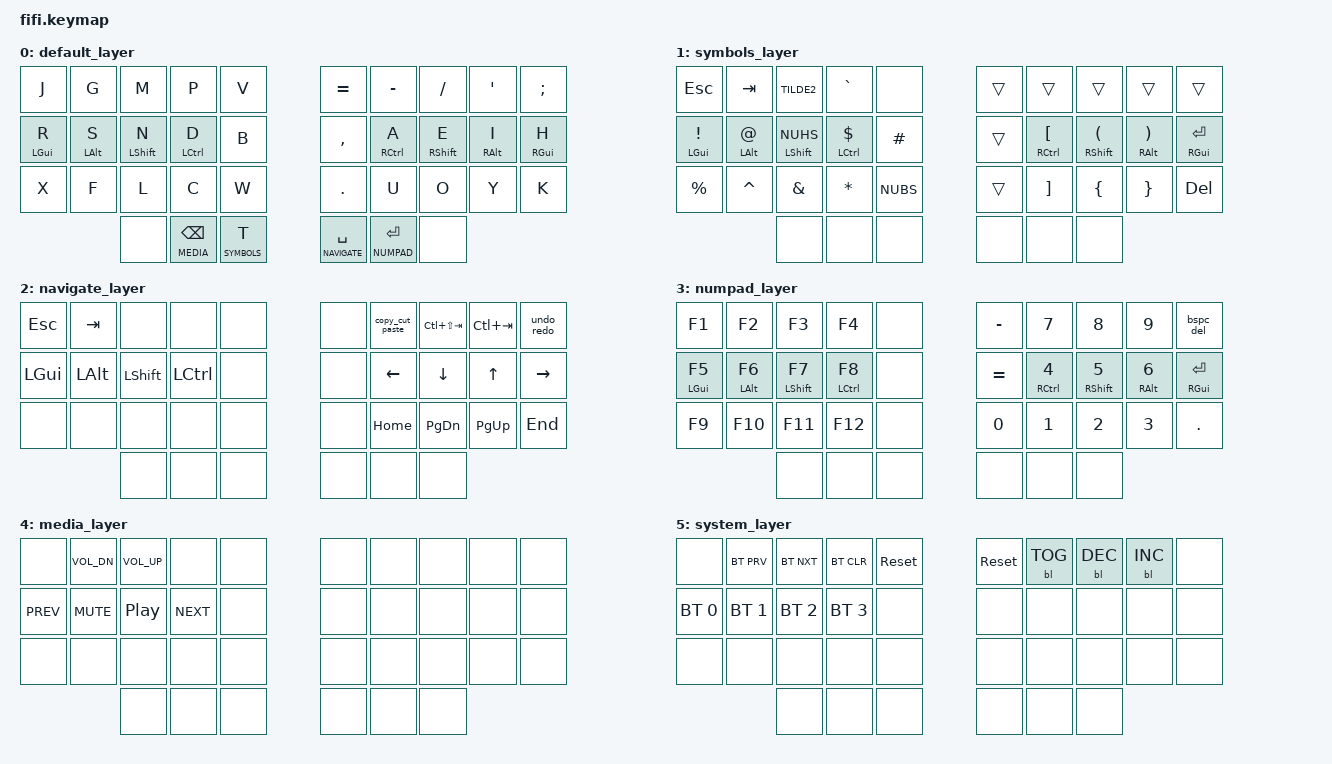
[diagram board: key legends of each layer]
/*
 * Copyright (c) 2020 The ZMK Contributors
 *
 * SPDX-License-Identifier: MIT
 */

#include <behaviors.dtsi>
#include <dt-bindings/zmk/backlight.h>
#include <dt-bindings/zmk/bt.h>
#include <dt-bindings/zmk/keys.h>

#define DEFAULT 0
#define SYMBOLS 1
#define NAVIGATE 2
#define NUMPAD 3
#define MEDIA 4
#define SYSTEM 5

&led_strip {
    chain-length = <8>;
};

/ {
    behaviors {
        bhm: balanced_homerow_mods {
            compatible = "zmk,behavior-hold-tap";
            label = "HOMEROW_MODS";
            #binding-cells = <2>;
            tapping-term-ms = <200>;// <---[[regular duration]]
            quick-tap-ms = <0>;// disabled
            flavor = "balanced";
            bindings =
                <&kp>,
                <&kp>;
        };
        bspc_del: backspace_delete {
            compatible = "zmk,behavior-mod-morph";
            label = "BACKSPACE_DELETE";
            #binding-cells = <0>;
            bindings =
                <&kp BACKSPACE>,
                <&kp DELETE>;

            mods = <(MOD_LSFT|MOD_RSFT)>;
            keep-mods = <(MOD_LCTL|MOD_RCTL)>;
        };
        undo_redo: undo_redo {
            compatible = "zmk,behavior-mod-morph";
            label = "UNDO_REDO";
            #binding-cells = <0>;
            bindings =
                <&kp LC(Z)>,
                <&kp LC(Y)>;

            mods = <(MOD_LSFT|MOD_RSFT)>;
        };
        copy_cut: copy_cut {
            compatible = "zmk,behavior-mod-morph";
            label = "COPY_CUT";
            #binding-cells = <0>;
            bindings =
                <&kp LC(C)>,
                <&kp LC(X)>;

            mods = <(MOD_LCTL|MOD_RCTL)>;
        };
        copy_cut_paste: copy_cut_paste {
            compatible = "zmk,behavior-mod-morph";
            label = "COPY_CUT_PASTE";
            #binding-cells = <0>;
            bindings =
                <&kp LC(V)>,
                <&copy_cut>;

            mods = <(MOD_LSFT|MOD_RSFT)>;
        };

        // copy_paste: copy_paste {
        //     compatible = "zmk,behavior-mod-morph";
        //     label = "COPY_PASTE";
        //     #binding-cells = <0>;
        //     bindings = <&kp LC(C)>, <&kp LC(V)>;
        //     mods = <(MOD_LSFT|MOD_RSFT)>;
        // };
    };

    combos {
        compatible = "zmk,combos";

        combo_z {
            timeout-ms = <50>;
            key-positions = <20 21>;
            layers = <DEFAULT>;
            bindings = <&kp Z>;
        };

        combo_q {
            timeout-ms = <50>;
            key-positions = <28 29>;
            layers = <DEFAULT>;
            bindings = <&kp Q>;
        };

        combo_esc {
            timeout-ms = <50>;
            key-positions = <1 2>;
            layers = <DEFAULT>;
            bindings = <&kp ESC>;
        };

        combo_tab {
            timeout-ms = <50>;
            key-positions = <2 3>;
            layers = <DEFAULT>;
            bindings = <&kp TAB>;
        };

        combo_system_layer_left {
            timeout-ms = <50>;
            key-positions = <30 31>;
            bindings = <&mo SYSTEM>;
        };

        combo_system_layer_right {
            timeout-ms = <50>;
            key-positions = <34 35>;
            bindings = <&mo SYSTEM>;
        };

        combo_caps_word {
            timeout-ms = <50>;
            key-positions = <12 17>;
            bindings = <&caps_word>;
        };

        combo_lgui {
            timeout-ms = <50>;
            key-positions = <10 19>;
            bindings = <&kp LGUI>;
        };

        combo_lalt {
            timeout-ms = <50>;
            key-positions = <11 18>;
            bindings = <&kp LALT>;
        };
    };

    keymap {
        compatible = "zmk,keymap";

        default_layer {
            bindings = <
&kp J        &kp G        &kp M                &kp P          &kp V    &kp EQUAL  &kp MINUS           &kp SLASH          &kp SQT      &kp SEMI
&bhm LGUI R  &bhm LALT S  &bhm LSHFT N         &bhm LCTRL D   &kp B    &kp COMMA  &bhm RCTRL A        &bhm RSHFT E       &bhm RALT I  &bhm RGUI H
&kp X        &kp F        &kp L                &kp C          &kp W    &kp DOT    &kp U               &kp O              &kp Y        &kp K
                          &none                &lt MEDIA BACKSPACE  &lt SYMBOLS T     &lt NAVIGATE SPACE  &lt NUMPAD RETURN  &none 
            >;
        };

        symbols_layer {
            bindings = <
&kp ESC         &kp TAB       &kp TILDE2       &kp GRAVE        &none        &trans  &trans           &trans           &trans          &trans
&bhm LGUI EXCL  &bhm LALT AT  &bhm LSHFT NUHS  &bhm LCTRL DLLR  &kp POUND    &trans  &bhm RCTRL LBKT  &bhm RSHFT LPAR  &bhm RALT RPAR  &bhm RGUI RETURN
&kp PRCNT       &kp CARET     &kp AMPS         &kp ASTRK        &kp NUBS     &trans  &kp RBKT         &kp LBRC         &kp RBRC        &kp DEL
                              &none            &none            &none        &none   &none            &none
            >;
        };

        navigate_layer {
            bindings = <
&kp ESC   &kp TAB   &none      &none      &none    &none  &copy_cut_paste  &kp LC(LS(TAB))  &kp LC(TAB)  &undo_redo
&kp LGUI  &kp LALT  &kp LSHFT  &kp LCTRL  &none    &none  &kp LEFT         &kp DOWN         &kp UP       &kp RIGHT
&none     &none     &none      &none      &none    &none  &kp HOME         &kp PAGE_DOWN    &kp PAGE_UP  &kp END
                    &none      &none      &none    &none  &none            &none
            >;
        };

        numpad_layer {
            bindings = <
&kp F1        &kp F2        &kp F3         &kp F4         &none    &kp MINUS  &kp N7         &kp N8         &kp N9        &bspc_del
&bhm LGUI F5  &bhm LALT F6  &bhm LSHFT F7  &bhm LCTRL F8  &none    &kp EQUAL  &bhm RCTRL N4  &bhm RSHFT N5  &bhm RALT N6  &bhm RGUI RETURN
&kp F9        &kp F10       &kp F11        &kp F12        &none    &kp N0     &kp N1         &kp N2         &kp N3        &kp DOT
                            &none          &none          &none    &none      &none          &none
            >;
        };

        media_layer {
            bindings = <
&none       &kp C_VOL_DN  &kp C_VOL_UP      &none       &none    &none  &none  &none  &none  &none
&kp C_PREV  &kp C_MUTE    &kp C_PLAY_PAUSE  &kp C_NEXT  &none    &none  &none  &none  &none  &none
&none       &none         &none             &none       &none    &none  &none  &none  &none  &none
                          &none             &none       &none    &none  &none  &none
            >;
        };

        system_layer {
            bindings = <
&none         &bt BT_PRV    &bt BT_NXT    &bt BT_CLR    &sys_reset    &sys_reset  &bl BL_TOG  &bl BL_DEC  &bl BL_INC  &none
&bt BT_SEL 0  &bt BT_SEL 1  &bt BT_SEL 2  &bt BT_SEL 3  &none         &none       &none       &none       &none       &none
&none         &none         &none         &none         &none         &none       &none       &none       &none       &none
                            &none         &none         &none         &none       &none       &none
            >;
        };
    };
};
